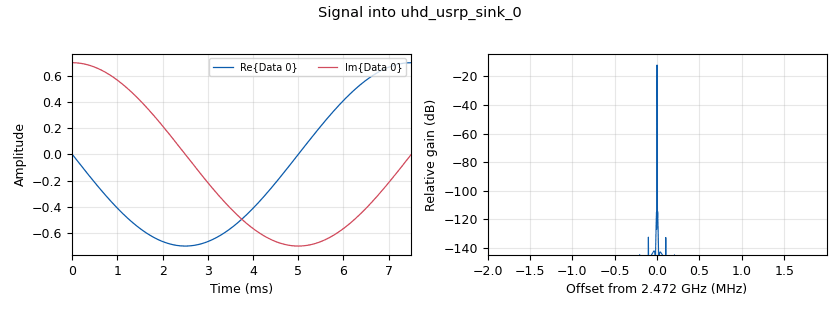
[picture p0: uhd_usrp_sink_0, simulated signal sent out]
options:
  parameters:
    category: Custom
    generate_options: qt_gui
    id: Basic_Trx
    output_language: python
  states: {}

blocks:
- name: BW
  id: variable
  parameters:
    value: samp_rate
  states: {}
- name: SRF
  id: variable_qtgui_range
  parameters:
    label: SRF
    orient: Qt.Horizontal
    start: '1'
    step: '0.5'
    stop: '4000'
    value: '100'
  states: {}
- name: TXGAIN
  id: variable_qtgui_range
  parameters:
    label: TXGAIN
    orient: Qt.Horizontal
    start: '0.01'
    step: '0.01'
    stop: '25'
    value: '25'
  states: {state: disabled}
- name: freq
  id: variable
  parameters:
    value: 2472e6
  states: {}
- name: offset
  id: variable
  parameters:
    value: '0'
  states: {}
- name: samp_rate
  id: variable_qtgui_range
  parameters:
    label: samp_rate
    orient: Qt.Horizontal
    start: 0.01e6
    step: '1'
    stop: 20e6
    value: 0.5e6
  states: {state: disabled}
- name: samp_rate
  id: variable
  parameters:
    value: 4000E3
  states: {}
- name: RX
  id: qtgui_freq_sink_x
  parameters:
    bw: BW
    fc: '0'
    fftsize: '1024'
    name: '"RX"'
    showports: 'True'
    type: complex
    wintype: firdes.WIN_BLACKMAN_hARRIS
  states: {state: disabled}
- name: TX
  id: qtgui_freq_sink_x
  parameters:
    bw: BW
    fc: '0'
    fftsize: '1024'
    name: '"TX"'
    showports: 'True'
    type: complex
    wintype: firdes.WIN_BLACKMAN_hARRIS
    ymin: '-200'
  states: {state: disabled}
- name: analog_sig_source_x_0
  id: analog_sig_source_x
  parameters:
    amp: '0.7'
    freq: SRF
    offset: '0'
    phase: '0'
    samp_rate: samp_rate
    type: complex
    waveform: analog.GR_SIN_WAVE
  states: {}
- name: blocks_file_sink_0
  id: blocks_file_sink
  parameters:
    file: /home/tnr-intern/SDR/DarkStar_T3.bin
    type: float
    vlen: '8192'
  states: {state: disabled}
- name: logpwrfft_x_0
  id: logpwrfft_x
  parameters:
    average: 'False'
    avg_alpha: '1.0'
    fft_size: '8192'
    frame_rate: '100'
    ref_scale: '2'
    sample_rate: samp_rate
    type: complex
  states: {state: disabled}
- name: qtgui_sink_x_0
  id: qtgui_sink_x
  parameters:
    bw: samp_rate
    fc: '0'
    fftsize: '1024'
    name: '"RX"'
    plottime: 'False'
    rate: '20'
    showports: 'True'
    showrf: 'True'
    type: complex
    wintype: firdes.WIN_BLACKMAN_hARRIS
  states: {}
- name: qtgui_sink_x_0_0
  id: qtgui_sink_x
  parameters:
    bw: samp_rate
    fc: '0'
    fftsize: '1024'
    name: '"TX"'
    showports: 'True'
    showrf: 'True'
    type: complex
    wintype: firdes.WIN_BLACKMAN_hARRIS
  states: {state: disabled}
- name: qtgui_waterfall_sink_x_0
  id: qtgui_waterfall_sink_x
  parameters:
    bw: BW
    fc: freq
    fftsize: '8192'
    int_min: '-100'
    name: '"RX"'
    showports: 'True'
    type: complex
    update_time: '0.001'
    wintype: firdes.WIN_BLACKMAN_hARRIS
  states: {}
- name: uhd_usrp_sink_0
  id: uhd_usrp_sink
  parameters:
    ant0: TX/RX
    center_freq0: freq+offset
    clock_rate: '0.0'
    dev_addr: serial=3218C78
    dev_args: '""'
    gain0: '70'
    len_tag_name: ''
    norm_gain0: 'False'
    samp_rate: samp_rate
    stream_args: peak=0.003906
    sync: none
    type: fc32
  states: {}
- name: uhd_usrp_source_0
  id: uhd_usrp_source
  parameters:
    ant0: TX/RX
    center_freq0: freq+offset
    clock_rate: '0.0'
    dc_offs_enb0: '""'
    dev_addr: serial=3218C78
    dev_args: '""'
    gain0: '20'
    iq_imbal_enb0: '""'
    norm_gain0: 'False'
    samp_rate: samp_rate
    sync: sync
    type: fc32
  states: {}

connections:
- [analog_sig_source_x_0, '0', TX, '0']
- [analog_sig_source_x_0, '0', qtgui_sink_x_0_0, '0']
- [analog_sig_source_x_0, '0', uhd_usrp_sink_0, '0']
- [logpwrfft_x_0, '0', blocks_file_sink_0, '0']
- [uhd_usrp_source_0, '0', RX, '0']
- [uhd_usrp_source_0, '0', logpwrfft_x_0, '0']
- [uhd_usrp_source_0, '0', qtgui_sink_x_0, '0']
- [uhd_usrp_source_0, '0', qtgui_waterfall_sink_x_0, '0']

metadata:
  file_format: 1
